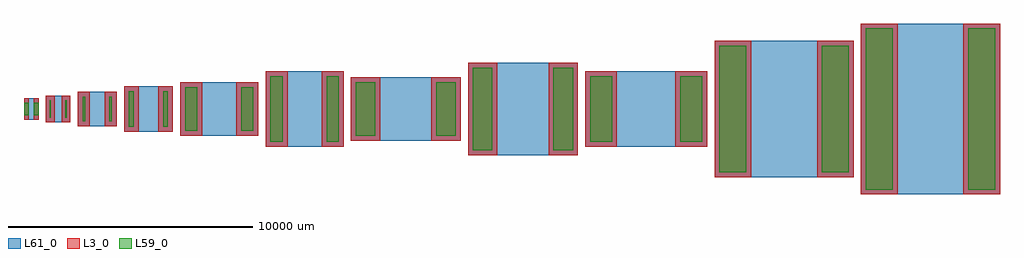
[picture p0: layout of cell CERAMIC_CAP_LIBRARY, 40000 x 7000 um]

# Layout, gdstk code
import gdstk
lib = gdstk.Library(unit=1e-6, precision=1e-09)
def R(c, l, rs):  # rectangles x0, y0, x1, y1
    for r in rs: c.add(gdstk.rectangle(r[:2], r[2:], *l))
def P(c, l, *ps):  # polygons
    for p in ps: c.add(gdstk.Polygon(p, *l))
L3_0 = (3, 0)
L59_0 = (59, 0)
L61_0 = (61, 0)

ceram_0201_0603 = lib.new_cell('CERAM_0201_0603')
R(ceram_0201_0603, L3_0, [(-300,-450,-100,450), (100,-450,300,450)])
R(ceram_0201_0603, L59_0, [(-300,-250,-100,250), (100,-250,300,250)])
R(ceram_0201_0603, L61_0, [(-300,-450,300,450)])
P(ceram_0201_0603, L61_0, [(-300,390),(-300,450),(-240,450)])
ceram_0201_0603.add(gdstk.Label('CERAM_0201_0603', (0,600), layer=61, texttype=0))
ceram_0201_0603.add(gdstk.Label('0.60x0.30mm', (0,-650), layer=61, texttype=0))

ceram_0402_1005 = lib.new_cell('CERAM_0402_1005')
R(ceram_0402_1005, L3_0, [(-500,-550,-150,550), (150,-550,500,550)])
R(ceram_0402_1005, L59_0, [(-350,-350,-300,350), (300,-350,350,350)])
R(ceram_0402_1005, L61_0, [(-500,-550,500,550)])
P(ceram_0402_1005, L61_0, [(-500,450),(-500,550),(-400,550)])
ceram_0402_1005.add(gdstk.Label('CERAM_0402_1005', (0,700), layer=61, texttype=0))
ceram_0402_1005.add(gdstk.Label('1.00x0.50mm', (0,-750), layer=61, texttype=0))

ceram_0603_1608 = lib.new_cell('CERAM_0603_1608')
R(ceram_0603_1608, L3_0, [(-800,-700,-300,700), (300,-700,800,700)])
R(ceram_0603_1608, L59_0, [(-600,-500,-500,500), (500,-500,600,500)])
R(ceram_0603_1608, L61_0, [(-800,-700,800,700)])
P(ceram_0603_1608, L61_0, [(-800,540),(-800,700),(-640,700)])
ceram_0603_1608.add(gdstk.Label('CERAM_0603_1608', (0,850), layer=61, texttype=0))
ceram_0603_1608.add(gdstk.Label('1.60x0.80mm', (0,-900), layer=61, texttype=0))

ceram_0805_2012 = lib.new_cell('CERAM_0805_2012')
R(ceram_0805_2012, L3_0, [(-1000,-925,-400,925), (400,-925,1000,925)])
R(ceram_0805_2012, L59_0, [(-800,-725,-600,725), (600,-725,800,725)])
R(ceram_0805_2012, L61_0, [(-1000,-925,1000,925)])
P(ceram_0805_2012, L61_0, [(-1000,675),(-1000,925),(-750,925)])
ceram_0805_2012.add(gdstk.Label('CERAM_0805_2012', (0,1075), layer=61, texttype=0))
ceram_0805_2012.add(gdstk.Label('2.00x1.25mm', (0,-1125), layer=61, texttype=0))

ceram_1206_3216 = lib.new_cell('CERAM_1206_3216')
R(ceram_1206_3216, L3_0, [(-1600,-1100,-700,1100), (700,-1100,1600,1100)])
R(ceram_1206_3216, L59_0, [(-1400,-900,-900,900), (900,-900,1400,900)])
R(ceram_1206_3216, L61_0, [(-1600,-1100,1600,1100)])
P(ceram_1206_3216, L61_0, [(-1600,850),(-1600,1100),(-1350,1100)])
ceram_1206_3216.add(gdstk.Label('CERAM_1206_3216', (0,1250), layer=61, texttype=0))
ceram_1206_3216.add(gdstk.Label('3.20x1.60mm', (0,-1300), layer=61, texttype=0))

ceram_1210_3225 = lib.new_cell('CERAM_1210_3225')
R(ceram_1210_3225, L3_0, [(-1600,-1550,-700,1550), (700,-1550,1600,1550)])
R(ceram_1210_3225, L59_0, [(-1400,-1350,-900,1350), (900,-1350,1400,1350)])
R(ceram_1210_3225, L61_0, [(-1600,-1550,1600,1550)])
P(ceram_1210_3225, L61_0, [(-1600,1300),(-1600,1550),(-1350,1550)])
ceram_1210_3225.add(gdstk.Label('CERAM_1210_3225', (0,1700), layer=61, texttype=0))
ceram_1210_3225.add(gdstk.Label('3.20x2.50mm', (0,-1750), layer=61, texttype=0))

ceram_1808_4520 = lib.new_cell('CERAM_1808_4520')
R(ceram_1808_4520, L3_0, [(-2250,-1300,-1050,1300), (1050,-1300,2250,1300)])
R(ceram_1808_4520, L59_0, [(-2050,-1100,-1250,1100), (1250,-1100,2050,1100)])
R(ceram_1808_4520, L61_0, [(-2250,-1300,2250,1300)])
P(ceram_1808_4520, L61_0, [(-2250,1050),(-2250,1300),(-2000,1300)])
ceram_1808_4520.add(gdstk.Label('CERAM_1808_4520', (0,1450), layer=61, texttype=0))
ceram_1808_4520.add(gdstk.Label('4.50x2.00mm', (0,-1500), layer=61, texttype=0))

ceram_1812_4532 = lib.new_cell('CERAM_1812_4532')
R(ceram_1812_4532, L3_0, [(-2250,-1900,-1050,1900), (1050,-1900,2250,1900)])
R(ceram_1812_4532, L59_0, [(-2050,-1700,-1250,1700), (1250,-1700,2050,1700)])
R(ceram_1812_4532, L61_0, [(-2250,-1900,2250,1900)])
P(ceram_1812_4532, L61_0, [(-2250,1650),(-2250,1900),(-2000,1900)])
ceram_1812_4532.add(gdstk.Label('CERAM_1812_4532', (0,2050), layer=61, texttype=0))
ceram_1812_4532.add(gdstk.Label('4.50x3.20mm', (0,-2100), layer=61, texttype=0))

ceram_2010_5025 = lib.new_cell('CERAM_2010_5025')
R(ceram_2010_5025, L3_0, [(-2500,-1550,-1200,1550), (1200,-1550,2500,1550)])
R(ceram_2010_5025, L59_0, [(-2300,-1350,-1400,1350), (1400,-1350,2300,1350)])
R(ceram_2010_5025, L61_0, [(-2500,-1550,2500,1550)])
P(ceram_2010_5025, L61_0, [(-2500,1300),(-2500,1550),(-2250,1550)])
ceram_2010_5025.add(gdstk.Label('CERAM_2010_5025', (0,1700), layer=61, texttype=0))
ceram_2010_5025.add(gdstk.Label('5.00x2.50mm', (0,-1750), layer=61, texttype=0))

ceram_2220_5750 = lib.new_cell('CERAM_2220_5750')
R(ceram_2220_5750, L3_0, [(-2850,-2800,-1350,2800), (1350,-2800,2850,2800)])
R(ceram_2220_5750, L59_0, [(-2650,-2600,-1550,2600), (1550,-2600,2650,2600)])
R(ceram_2220_5750, L61_0, [(-2850,-2800,2850,2800)])
P(ceram_2220_5750, L61_0, [(-2850,2550),(-2850,2800),(-2600,2800)])
ceram_2220_5750.add(gdstk.Label('CERAM_2220_5750', (0,2950), layer=61, texttype=0))
ceram_2220_5750.add(gdstk.Label('5.70x5.00mm', (0,-3000), layer=61, texttype=0))

ceram_2225_5764 = lib.new_cell('CERAM_2225_5764')
R(ceram_2225_5764, L3_0, [(-2850,-3500,-1350,3500), (1350,-3500,2850,3500)])
R(ceram_2225_5764, L59_0, [(-2650,-3300,-1550,3300), (1550,-3300,2650,3300)])
R(ceram_2225_5764, L61_0, [(-2850,-3500,2850,3500)])
P(ceram_2225_5764, L61_0, [(-2850,3250),(-2850,3500),(-2600,3500)])
ceram_2225_5764.add(gdstk.Label('CERAM_2225_5764', (0,3650), layer=61, texttype=0))
ceram_2225_5764.add(gdstk.Label('5.70x6.40mm', (0,-3700), layer=61, texttype=0))

ceramic_cap_library = lib.new_cell('CERAMIC_CAP_LIBRARY')
ceramic_cap_library.add(gdstk.Reference(ceram_0201_0603, (300,0)))
ceramic_cap_library.add(gdstk.Reference(ceram_0402_1005, (1400,0)))
ceramic_cap_library.add(gdstk.Reference(ceram_0603_1608, (3000,0)))
ceramic_cap_library.add(gdstk.Reference(ceram_0805_2012, (5100,0)))
ceramic_cap_library.add(gdstk.Reference(ceram_1206_3216, (8000,0)))
ceramic_cap_library.add(gdstk.Reference(ceram_1210_3225, (11500,0)))
ceramic_cap_library.add(gdstk.Reference(ceram_1808_4520, (15650,0)))
ceramic_cap_library.add(gdstk.Reference(ceram_1812_4532, (20450,0)))
ceramic_cap_library.add(gdstk.Reference(ceram_2010_5025, (25500,0)))
ceramic_cap_library.add(gdstk.Reference(ceram_2220_5750, (31150,0)))
ceramic_cap_library.add(gdstk.Reference(ceram_2225_5764, (37150,0)))

lib.write_gds('CERAMIC_CAP_LIBRARY.gds')
